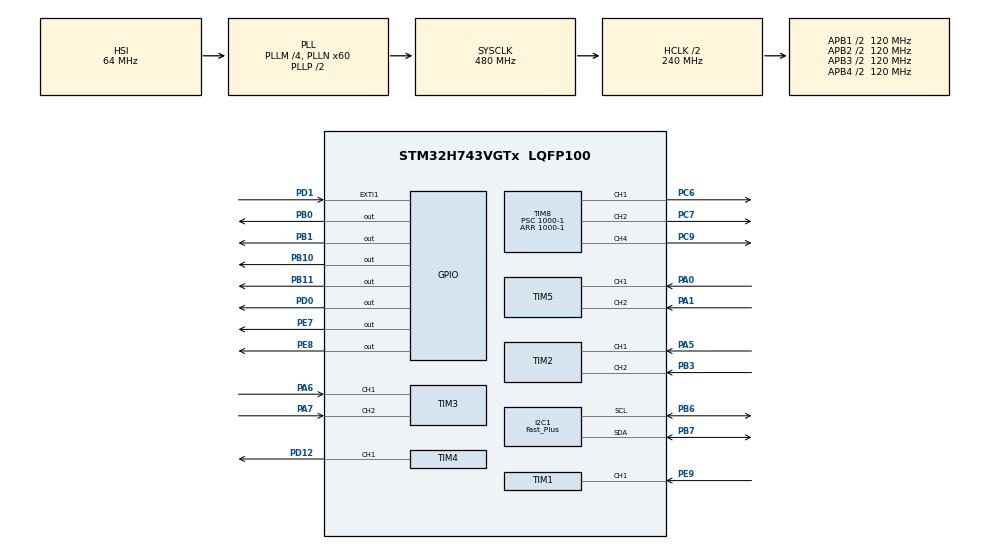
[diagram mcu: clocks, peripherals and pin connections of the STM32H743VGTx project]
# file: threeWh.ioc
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CORTEX_M7.CPU_DCache=Enabled
CORTEX_M7.CPU_ICache=Enabled
CORTEX_M7.default_mode_Activation=1
I2C1.I2C_Speed_Mode=I2C_Fast_Plus
I2C1.Speed=500
I2C1.Timing=0x005017C7
Mcu.Family=STM32H7
Mcu.Name=STM32H743VGTx
Mcu.Package=LQFP100
NVIC.EXTI1_IRQn=true\:1\:0\:true\:false\:true\:true\:true\:true
NVIC.PriorityGroup=NVIC_PRIORITYGROUP_4
NVIC.TIM1_BRK_IRQn=true\:0\:0\:false\:false\:true\:true\:true\:true
NVIC.TIM1_CC_IRQn=true\:0\:0\:false\:false\:true\:true\:true\:true
NVIC.TIM1_TRG_COM_IRQn=true\:0\:0\:false\:false\:true\:true\:true\:true
NVIC.TIM1_UP_IRQn=true\:0\:0\:false\:false\:true\:true\:true\:true
NVIC.TIM8_BRK_TIM12_IRQn=true\:0\:0\:false\:false\:true\:true\:true\:true
PA0.Signal=S_TIM5_CH1
PA1.Signal=S_TIM5_CH2
PA13\ (JTMS/SWDIO).Mode=Serial_Wire
PA13\ (JTMS/SWDIO).Signal=DEBUG_JTMS-SWDIO
PA14\ (JTCK/SWCLK).Mode=Serial_Wire
PA14\ (JTCK/SWCLK).Signal=DEBUG_JTCK-SWCLK
PA5.Signal=S_TIM2_CH1_ETR
PA6.Signal=S_TIM3_CH1
PA7.Signal=S_TIM3_CH2
PB0.Signal=GPIO_Output
PB1.Signal=GPIO_Output
PB10.Signal=GPIO_Output
PB11.Signal=GPIO_Output
PB3\ (JTDO/TRACESWO).Signal=S_TIM2_CH2
PB6.Mode=I2C
PB6.Signal=I2C1_SCL
PB7.Mode=I2C
PB7.Signal=I2C1_SDA
PC14-OSC32_IN\ (OSC32_IN).Mode=LSE-External-Oscillator
PC14-OSC32_IN\ (OSC32_IN).Signal=RCC_OSC32_IN
PC15-OSC32_OUT\ (OSC32_OUT).Mode=LSE-External-Oscillator
PC15-OSC32_OUT\ (OSC32_OUT).Signal=RCC_OSC32_OUT
PC6.Signal=S_TIM8_CH1
PC7.Signal=S_TIM8_CH2
PC9.Signal=S_TIM8_CH4
PD0.GPIO_ModeDefaultOutputPP=GPIO_MODE_OUTPUT_PP
PD0.GPIO_PuPd=GPIO_PULLDOWN
PD0.Signal=GPIO_Output
PD1.GPIO_ModeDefaultEXTI=GPIO_MODE_IT_RISING_FALLING
PD1.GPIO_PuPd=GPIO_PULLDOWN
PD1.Signal=GPXTI1
PD12.Signal=S_TIM4_CH1
PE7.GPIO_ModeDefaultOutputPP=GPIO_MODE_OUTPUT_PP
PE7.GPIO_PuPd=GPIO_NOPULL
PE7.Signal=GPIO_Output
PE8.GPIO_ModeDefaultOutputPP=GPIO_MODE_OUTPUT_PP
PE8.GPIO_PuPd=GPIO_NOPULL
PE8.Signal=GPIO_Output
PE9.Signal=S_TIM1_CH1
PH0-OSC_IN\ (PH0).Mode=HSE-External-Oscillator
PH0-OSC_IN\ (PH0).Signal=RCC_OSC_IN
PH1-OSC_OUT\ (PH1).Mode=HSE-External-Oscillator
PH1-OSC_OUT\ (PH1).Signal=RCC_OSC_OUT
ProjectManager.HeapSize=0xf00
ProjectManager.StackSize=0xf00
ProjectManager.TargetToolchain=MDK-ARM V5.32
RCC.ADCFreq_Value=129000000
RCC.APB1Freq_Value=120000000
RCC.APB2Freq_Value=120000000
RCC.APB3Freq_Value=120000000
RCC.APB4Freq_Value=120000000
RCC.CortexFreq_Value=480000000
RCC.D1PPRE=RCC_APB3_DIV2
RCC.D2PPRE1=RCC_APB1_DIV2
RCC.D2PPRE2=RCC_APB2_DIV2
RCC.D3PPRE=RCC_APB4_DIV2
RCC.DIVM1=4
RCC.DIVN1=60
RCC.HCLKFreq_Value=240000000
RCC.HPRE=RCC_HCLK_DIV2
RCC.PLL2FRACN=0
RCC.PLL3FRACN=0
RCC.PLLFRACN=0
RCC.SYSCLKFreq_VALUE=480000000
RCC.SYSCLKSource=RCC_SYSCLKSOURCE_PLLCLK
RCC.USBFreq_Value=480000000
SH.S_TIM1_CH1.0=TIM1_CH1,Input_Capture1_from_TI1
SH.S_TIM2_CH1_ETR.0=TIM2_CH1,Encoder_Interface
SH.S_TIM2_CH2.0=TIM2_CH2,Encoder_Interface
SH.S_TIM3_CH1.0=TIM3_CH1,Encoder_Interface
SH.S_TIM3_CH2.0=TIM3_CH2,Encoder_Interface
SH.S_TIM4_CH1.0=TIM4_CH1,PWM Generation1 CH1
SH.S_TIM5_CH1.0=TIM5_CH1,Encoder_Interface
SH.S_TIM5_CH2.0=TIM5_CH2,Encoder_Interface
SH.S_TIM8_CH1.0=TIM8_CH1,PWM Generation1 CH1
SH.S_TIM8_CH2.0=TIM8_CH2,PWM Generation2 CH2
SH.S_TIM8_CH4.0=TIM8_CH4,PWM Generation4 CH4
TIM1.AutoReloadPreload=TIM_AUTORELOAD_PRELOAD_ENABLE
TIM1.Channel-Input_Capture1_from_TI1=TIM_CHANNEL_1
TIM1.ICPolarity_CH1=TIM_INPUTCHANNELPOLARITY_FALLING
TIM1.Period=20000-1
TIM1.Prescaler=240-1
TIM12.AutoReloadPreload=TIM_AUTORELOAD_PRELOAD_ENABLE
TIM12.Period=4000-1
TIM12.Prescaler=2400-1
TIM2.EncoderMode=TIM_ENCODERMODE_TI12
TIM3.EncoderMode=TIM_ENCODERMODE_TI12
TIM4.Channel-PWM\ Generation1\ CH1=TIM_CHANNEL_1
TIM4.Period=48000-1
TIM4.Prescaler=100-1
TIM5.EncoderMode=TIM_ENCODERMODE_TI12
TIM6.Period=65535-1
TIM6.Prescaler=24000-1
TIM8.AutoReloadPreload=TIM_AUTORELOAD_PRELOAD_ENABLE
TIM8.Channel-PWM\ Generation1\ CH1=TIM_CHANNEL_1
TIM8.Channel-PWM\ Generation2\ CH2=TIM_CHANNEL_2
TIM8.Channel-PWM\ Generation4\ CH4=TIM_CHANNEL_4
TIM8.Period=1000-1
TIM8.Prescaler=1000-1
TIM8.Pulse-PWM\ Generation1\ CH1=100
VP_TIM12_VS_ClockSourceINT.Mode=Internal
VP_TIM15_VS_ClockSourceINT.Mode=Internal
VP_TIM1_VS_ClockSourceINT.Mode=Internal
VP_TIM4_VS_ClockSourceINT.Mode=Internal
VP_TIM6_VS_ClockSourceINT.Mode=Enable_Timer
VP_TIM8_VS_ClockSourceINT.Mode=Internal
board=custom

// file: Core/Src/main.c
/* USER CODE BEGIN Header */
/**
  ******************************************************************************
  * @file           : main.c
  * @brief          : Main program body
  ******************************************************************************
  * @attention
  *
  * Copyright (c) 2024 STMicroelectronics.
  * All rights reserved.
  *
  * This software is licensed under terms that can be found in the LICENSE file
  * in the root directory of this software component.
  * If no LICENSE file comes with this software, it is provided AS-IS.
  *
  ******************************************************************************
  */
/* USER CODE END Header */
#include "main.h"
#include "i2c.h"
#include "tim.h"
#include "gpio.h"

/* USER CODE BEGIN Includes */
#include "lcd_spi_130.h"
#include "dj.h"
#include "stdio.h"
#include "mpu6050.h"
#include "inv_mpu.h"
#include "arm_math.h"
#include "inv_mpu_dmp_motion_driver.h"
#include "HCSR04.h"
#include "servo.h"
//#include "mpu_math.h"

/* USER CODE END Includes */

/* USER CODE BEGIN PTD */
extern uint16_t Time;
void HAL_GPIO_EXTI_Callback(uint16_t GPIO_Pin)
{
	if(GPIO_Pin==GPIO_PIN_1)
	{
		if(HAL_GPIO_ReadPin(GPIOD,GPIO_PIN_1)==GPIO_PIN_SET)
		{
			__HAL_TIM_SetCounter(&htim6,0);
			HAL_TIM_Base_Start(&htim6);
		}
		else
		{
			Time=__HAL_TIM_GetCounter(&htim6);
			HAL_TIM_Base_Stop(&htim6);
		}
	}
}
//void HAL_Delay_us(uint32_t nus);
/* USER CODE END PTD */

void SystemClock_Config(void);
static void MPU_Config(void);
uint8_t getAim();
void ctr_mode(uint32_t sw_data);

/* USER CODE BEGIN 0 */
int bug;
long long z_add=0;
short aacx,aacy,aacz;			//加速度传感器原始数据
short gyrox,gyroy,gyroz;		//陀螺仪原始数据
short az, az_i;
long long az_j=0;
extern float Yaw,Pitch,Roll;
int speed1=0, speed2=0, speed3=0;
int row=0;
uint8_t azH, azL;
float temp;					    //温度
void sw(uint32_t sw_data);
int distance;
extern int now_speed1, now_speed2, now_speed3;
uint16_t Angle[180]={0};
uint8_t aimAng=0, aimA=0;
int ctr_Flag = 0;

uint8_t getAim(){
	uint8_t start=0, end=0,min_distance=Angle[20];
	for(uint8_t ii=20; ii<160; ii++){
		if(min_distance>Angle[ii])
		{
			min_distance=Angle[ii];
		}
	}
	for(uint8_t ii=0;ii<180;ii++)
	{
		if(!start)
		{
			if(Angle[ii]>=min_distance&&Angle[ii]<=min_distance+10)
			{
				start=ii;
			}
		}
		else
		{
			if(Angle[ii]>=min_distance&&Angle[ii]<=min_distance+10)
			{
				end=ii;
			}
		}
	}
//		if(!start){
//			if(Angle[ii]>=5 && Angle[ii]<=60 ){
//				start = ii;
//			}
//		}
//		if(Angle[ii]>=5 && Angle[ii]<=30){
//			end = ii;
//		}
//	}
	return (start + end)/2;
}

/* USER CODE END 0 */

int main(void)
{

  /* MPU Configuration--------------------------------------------------------*/
  MPU_Config();

  /* Enable the CPU Cache */

  /* Enable I-Cache---------------------------------------------------------*/
  SCB_EnableICache();

  /* Enable D-Cache---------------------------------------------------------*/
  SCB_EnableDCache();

  /* MCU Configuration--------------------------------------------------------*/

  /* Reset of all peripherals, Initializes the Flash interface and the Systick. */
  HAL_Init();

  /* Configure the system clock */
  SystemClock_Config();

  /* Initialize all configured peripherals */
  MX_GPIO_Init();
  MX_TIM8_Init();
  MX_TIM2_Init();
  MX_TIM3_Init();
  MX_TIM4_Init();
  MX_TIM5_Init();
  MX_I2C1_Init();
  MX_TIM1_Init();
  MX_TIM6_Init();
  MX_TIM15_Init();
  MX_TIM12_Init();
  /* USER CODE BEGIN 2 */
  HAL_NVIC_SetPriority(SysTick_IRQn, 1, 0);
  HAL_NVIC_SetPriority(TIM1_UP_IRQn, 2, 0);
  HAL_NVIC_SetPriority(TIM8_BRK_TIM12_IRQn, 3, 0);
	SPI_LCD_Init();  // LCD Init
	MPU_Init();
	HCSR04_Init();
// HAL_TIM_PWM_Start(&htim1, TIM_CHANNEL_1);
  HAL_TIM_Base_Start(&htim8);
  HAL_TIM_PWM_Start(&htim8, TIM_CHANNEL_1);

  // HAL_TIM_Base_Start(&htim1);

  //HAL_TIM_Base_Start(&htim1);

  HAL_TIM_Encoder_Start(&htim5, TIM_CHANNEL_ALL);

  LCD_SetTextFont(&CH_Font24);
	LCD_SetAsciiFont(&ASCII_Font24);

	//LCD_DrawCircle(0, 160, 80);

  /* USER CODE END 2 */

  /* Infinite loop */
  /* USER CODE BEGIN WHILE */

  DJ_All_Init();
	DJ_Set_Speed_All(200, 200, 200);
  DJ_Set_Mode(1, 0);
  DJ_Set_Mode(2, 0);
  DJ_Set_Mode(3, 0);
  char *sp1, *sp2, *sp3;
  int k=0;
  MPU_Read_Fast(0x47, &azH);
  MPU_Read_Fast(0x48, &azL);
  az_i = (azH << 8) | azL;
	HAL_Delay(100);

	HAL_TIM_Base_Start_IT(&htim1);
  //HAL_TIM_IC_Start(&htim1, TIM_CHANNEL_3);

  HAL_TIM_IC_Start_IT(&htim1, TIM_CHANNEL_1);
  HAL_TIM_IC_Start_IT(&htim4, TIM_CHANNEL_1);
  //HAL_TIM_Base_Start(&htim7);

  HAL_TIM_Base_Start_IT(&htim12);
//  HCSR04_Init();

  // servo_setAngle(Angle[180]);

  //__HAL_TIM_SetCompare(&htim4,TIM_CHANNEL_1,45*80/3);
//  HAL_TIM_Base_Stop_IT(&htim12);
//  servo_setAngle(90);//调90度
//DJ_Set_Speed_All(0,0,0);

  while (1)
  {
	   //0:???? 1:?????????
	if(ctr_Flag == 1){
	  mpu_reset_fifo();
	  if(aimAng){
			aimA = aimAng;
		az_j=(aimAng-90)*808.0;
		aimAng = 0;
	  }
	  row = (az_j-z_add)/200.0;
	  DJ_Set_Mode(2,1);
	  DJ_Set_Mode(3,0);
	  DJ_Set_Mode(1,0);
	  DJ_Set_Speed_All(100,100-row/2.0,100);
	  DJ_Step();
	}
	else{
		row = (az_j-z_add)/200.0;
	  DJ_Set_Mode(2,0);
	  DJ_Set_Mode(3,0);
	  DJ_Set_Mode(1,0);
		if(speed1==0 && speed2==0 && speed3==0){
			DJ_Set_Speed_All(row/2,row/2,row/2);
		}else{
			DJ_Set_Speed_All(speed1,speed2+row/2.0, speed3);
		}

	  DJ_Step();
	}

//		if(k==10){
//			 mpu_reset_fifo();
//			HAL_Delay(4);
			//while(bug = mpu_dmp_get_data(&pitch, &roll, &yaw));			//必须要用while等待，才能读取成功
			//MPU_Get_Accelerometer(&aacx,&aacy, &aacz);		//得到加速度传感器数据
//      row = (z_add-az_j)/1000.0;

//      DJ_Set_Speed_All(speed1, speed2, speed3+row);

		// DJ_Set_Speed(3, 200 + z_add/500.0);
			//temp=MPU_Get_Temperature();						//得到温度信息

//		DJ_Step();
/*start
	  //在运动过程中，每次超声波检测到障碍物，将目标方向指向障碍物方向
	  //
	  红外光遥控进入此程序
	  int main()
	  {
		初始化
		打开舵机定时器的时钟
		while(!getAim());//等待超声波获得障碍物方向
		while(1)
		{
			mpu_reset_fifo();
			if(!getAim())
			{
				az_j=getaim();
			}
			DJ_Set_Speed_All(speed1,speed2,row);
			row=(z_add-az_j)/1000.0;
			DJ_Step();
		}
	  }
end*/

    /* USER CODE END WHILE */

  }
}

void SystemClock_Config(void)
{
  RCC_OscInitTypeDef RCC_OscInitStruct = {0};
  RCC_ClkInitTypeDef RCC_ClkInitStruct = {0};

  /** Supply configuration update enable
  */
  HAL_PWREx_ConfigSupply(PWR_LDO_SUPPLY);

  /** Configure the main internal regulator output voltage
  */
  __HAL_PWR_VOLTAGESCALING_CONFIG(PWR_REGULATOR_VOLTAGE_SCALE1);

  while(!__HAL_PWR_GET_FLAG(PWR_FLAG_VOSRDY)) {}

  __HAL_RCC_SYSCFG_CLK_ENABLE();
  __HAL_PWR_VOLTAGESCALING_CONFIG(PWR_REGULATOR_VOLTAGE_SCALE0);

  while(!__HAL_PWR_GET_FLAG(PWR_FLAG_VOSRDY)) {}

  /** Initializes the RCC Oscillators according to the specified parameters
  * in the RCC_OscInitTypeDef structure.
  */
  RCC_OscInitStruct.OscillatorType = RCC_OSCILLATORTYPE_HSI;
  RCC_OscInitStruct.HSIState = RCC_HSI_DIV1;
  RCC_OscInitStruct.HSICalibrationValue = RCC_HSICALIBRATION_DEFAULT;
  RCC_OscInitStruct.PLL.PLLState = RCC_PLL_ON;
  RCC_OscInitStruct.PLL.PLLSource = RCC_PLLSOURCE_HSI;
  RCC_OscInitStruct.PLL.PLLM = 4;
  RCC_OscInitStruct.PLL.PLLN = 60;
  RCC_OscInitStruct.PLL.PLLP = 2;
  RCC_OscInitStruct.PLL.PLLQ = 2;
  RCC_OscInitStruct.PLL.PLLR = 2;
  RCC_OscInitStruct.PLL.PLLRGE = RCC_PLL1VCIRANGE_3;
  RCC_OscInitStruct.PLL.PLLVCOSEL = RCC_PLL1VCOWIDE;
  RCC_OscInitStruct.PLL.PLLFRACN = 0;
  if (HAL_RCC_OscConfig(&RCC_OscInitStruct) != HAL_OK)
  {
    Error_Handler();
  }

  /** Initializes the CPU, AHB and APB buses clocks
  */
  RCC_ClkInitStruct.ClockType = RCC_CLOCKTYPE_HCLK|RCC_CLOCKTYPE_SYSCLK
                              |RCC_CLOCKTYPE_PCLK1|RCC_CLOCKTYPE_PCLK2
                              |RCC_CLOCKTYPE_D3PCLK1|RCC_CLOCKTYPE_D1PCLK1;
  RCC_ClkInitStruct.SYSCLKSource = RCC_SYSCLKSOURCE_PLLCLK;
  RCC_ClkInitStruct.SYSCLKDivider = RCC_SYSCLK_DIV1;
  RCC_ClkInitStruct.AHBCLKDivider = RCC_HCLK_DIV2;
  RCC_ClkInitStruct.APB3CLKDivider = RCC_APB3_DIV2;
  RCC_ClkInitStruct.APB1CLKDivider = RCC_APB1_DIV2;
  RCC_ClkInitStruct.APB2CLKDivider = RCC_APB2_DIV2;
  RCC_ClkInitStruct.APB4CLKDivider = RCC_APB4_DIV2;

  if (HAL_RCC_ClockConfig(&RCC_ClkInitStruct, FLASH_LATENCY_4) != HAL_OK)
  {
    Error_Handler();
  }
}

/* USER CODE BEGIN 4 */
uint8_t NEC_Start = 0, NEC_Mode=0;
uint16_t CR1=0, CR2=0;
uint16_t time1=0;
uint32_t time2=0;
uint8_t NEC_Data_P=0;
uint32_t NEC_Data=0, NEC_Last_Data=0;
int x2, y2;
int nowAng = 0;
void HAL_TIM_PeriodElapsedCallback(TIM_HandleTypeDef *htim){
  if(htim->Instance == TIM1){
	  if(NEC_Mode){
      NEC_Start ++;
      // if(NEC_Start>=2){
      //   NEC_Mode = 0;
      // }
      if(NEC_Mode==1 && NEC_Start==2){
        NEC_Mode = 0;
        __HAL_TIM_SET_CAPTUREPOLARITY(htim, TIM_CHANNEL_1, TIM_INPUTCHANNELPOLARITY_FALLING);
      }
      if((NEC_Mode==2||NEC_Mode==3) && NEC_Start==7){
        NEC_Mode = 0;
        __HAL_TIM_SET_CAPTUREPOLARITY(htim, TIM_CHANNEL_1, TIM_INPUTCHANNELPOLARITY_FALLING);
      }
    }

    MPU_Read_Fast(0x47, &azH);
    MPU_Read_Fast(0x48, &azL);
    az = (azH << 8) | azL;
    if(az - az_i>5|| az - az_i<-5){
      z_add += az - az_i;
    }

  }
  if(htim == (&htim12)){
		//LCD_ClearRect(5, 144, 120, 86);

    LCD_SetBackColor(LCD_BLACK);
		LCD_SetColor(LCD_WHITE);
		//distance=HCSR04_GetValue();
		LCD_DisplayNumber(1,1,aimA,3);
		LCD_DisplayNumber(5, 120+24, getSpeed(1), 4);
		LCD_DisplayNumber(5, 120+48, getSpeed(2), 4);
		LCD_DisplayNumber(5, 120+72, getSpeed(3), 4);

		LCD_DisplayNumber(80, 120+24, (int)z_add, 4);
		LCD_DisplayNumber(80, 120+48, (int)row, 4);
		LCD_DisplayNumber(80, 120+72, (int)aimAng, 3);

		LCD_DisplayNumber(160, 120+24, speed1, 4);
		LCD_DisplayNumber(160, 120+48, speed2, 4);
		LCD_DisplayNumber(160, 120+72, speed3, 4);

			//if(Angle[ids]>=39) Angle[ids] = 39;

		// LCD_DisplayNumber(100, 120+48, (int)Pitch, 4);
		// LCD_DisplayNumber(100, 120+72, (int)Roll, 4);
	//	LCD_DisplayNumber(100, 120+86, (int)temp, 4);

////    LCD_DisplayText(5, 120+48, sp2);
////    LCD_DisplayText(5, 120+72, sp3);

    //LCD_DrawHalfCircle(120, 120, 120, 1);
    if(nowAng >=0){
      distance = HCSR04_GetValue();
			if(distance >120)
				distance=120;
			Angle[nowAng] = distance;
			LCD_DrawPoint(120-cos((nowAng)*3.1415926/180)*distance, 120-sin((nowAng)*3.1415926/180)*distance, LCD_WHITE);
//			if(nowAng<180){
//				LCD_SetColor(LCD_BLACK);
//				LCD_DrawLine(120, 120, x2, y2);
//				if(nowAng){
//					x2 = 120-cos((nowAng)*3.1415926/180)*120;
//					y2 = 120-sin((nowAng)*3.1415926/180)*120;
//					LCD_DrawPoint(120-cos((nowAng-1)*3.1415926/180)*Angle[nowAng-1], 120-sin((nowAng-1)*3.1415926/180)*Angle[nowAng-1], LCD_WHITE);
//				}else{
//					LCD_DrawPoint(120-cos((180)*3.1415926/180)*Angle[179], 120-sin((180)*3.1415926/180)*Angle[179], LCD_WHITE);
//				}
//				LCD_SetColor(LCD_GREEN);
//				LCD_DrawLine(120, 120, x2, y2);
//			}

//			LCD_DrawPoint(120-cos((nowAng-1)*3.1415926/180)*distance, 120-sin((nowAng-1)*3.1415926/180)*distance, LCD_WHITE);
      nowAng++;
      if(nowAng>=180){
				LCD_Clear();
        nowAng = -50;
        servo_setAngle(180);
	   aimAng = getAim();
      }else{
        servo_setAngle(180-nowAng);
      }
    }else{
      nowAng++;
    }
    /*start

    uint8_t start=0 end=0;
    for(uint8_t i=0;i<180;i++)
    {
		servo_setAngle(i);
		distance=HCSR04_GetValue();
		if(!start)
		{
		    if(distance>=10&&distance<=60)
		    start=i;
		}
		if(distance>=10&&distance<=60)
		{
			end=i;
		}
    }
    AimAngle=(start+end)/2;
    end*/
  }
}
void ctr_mode(uint32_t sw_data){
    if(sw_data == 0xEA15FF00){  //妯″紡1
        ctr_Flag = 0;
    }

    else if(sw_data == 0xF609FF00){  //妯″紡2
        ctr_Flag = 1;
			z_add = 0;
    }

    if(ctr_Flag == 0){
        if(sw_data == 0xAD52FF00){ //2 鍓嶈繘
            speed1 =  -100;
            speed2 =  100  ;
            speed3 =  -100 ;
        }
        else if(sw_data == 0xE718FF00){  //8 鍚庨��
            speed1 = 100 ;
            speed2 = -100 ;
            speed3 = 100  ;
        }
        else if(sw_data == 0xA55AFF00){  //4 宸﹁浆
            az_j+=10000;
        }
        else if(sw_data == 0xF708FF00){  //6 鍙宠浆
            az_j-=10000;
        }else if(sw_data == 0xE31CFF00){
			speed1 = 0;
			speed2 = 0;
			speed3 = 0;
		}
    }
}

void HAL_TIM_IC_CaptureCallback(TIM_HandleTypeDef *htim){
  if(htim->Instance == TIM1){
    if(NEC_Mode==0){
      CR1 = HAL_TIM_ReadCapturedValue(htim, TIM_CHANNEL_1);
      NEC_Mode=1;
      NEC_Start=0;
      __HAL_TIM_SET_CAPTUREPOLARITY(htim, TIM_CHANNEL_1, TIM_INPUTCHANNELPOLARITY_RISING);
    }else if(NEC_Mode==1){
      CR2 = HAL_TIM_ReadCapturedValue(htim, TIM_CHANNEL_1);
      time1 = CR2 - CR1 + NEC_Start*20000;
      if(time1 > 8000 && time1 < 10000){
        NEC_Mode = 2;  // 2卤韸韭柯寂惵断惻号结姼
        NEC_Data=0;
        NEC_Data_P=0;
      }else{
        NEC_Mode = 0;  // 袇潞糯韼陈Ｂ结姼
				__HAL_TIM_SET_CAPTUREPOLARITY(htim, TIM_CHANNEL_1, TIM_INPUTCHANNELPOLARITY_FALLING);
      }
    }else if(NEC_Mode==2){
      CR1 = HAL_TIM_ReadCapturedValue(htim, TIM_CHANNEL_1);
      NEC_Start = 0;
      NEC_Mode=3;
      __HAL_TIM_SET_CAPTUREPOLARITY(htim, TIM_CHANNEL_1, TIM_INPUTCHANNELPOLARITY_FALLING);
    }else if(NEC_Mode==3){
      CR2 = HAL_TIM_ReadCapturedValue(htim, TIM_CHANNEL_1);
      time2 = CR2 - CR1 + NEC_Start*20000;
      if(time2<800){
        NEC_Data &= ~(((uint32_t)1)<<NEC_Data_P);
        NEC_Data_P++;
      }else if(time2<6000){
        NEC_Data |= (((uint32_t)1)<<NEC_Data_P);
        NEC_Data_P++;
      }else if(time2>90000){
        NEC_Mode = 0;//闀挎寜
        NEC_Data_P = 0;
        ctr_mode(NEC_Last_Data);
        __HAL_TIM_SET_CAPTUREPOLARITY(htim, TIM_CHANNEL_1, TIM_INPUTCHANNELPOLARITY_FALLING);
      }else{
				NEC_Mode = 0;
        NEC_Data_P = 0;
        __HAL_TIM_SET_CAPTUREPOLARITY(htim, TIM_CHANNEL_1, TIM_INPUTCHANNELPOLARITY_FALLING);
			}
      if(NEC_Data_P>31){
         NEC_Last_Data = NEC_Data;//鐭寜
        //sw(NEC_Data);
        NEC_Mode = 0;
        __HAL_TIM_SET_CAPTUREPOLARITY(htim, TIM_CHANNEL_1, TIM_INPUTCHANNELPOLARITY_FALLING);
      }else{
        NEC_Mode=2;
        __HAL_TIM_SET_CAPTUREPOLARITY(htim, TIM_CHANNEL_1, TIM_INPUTCHANNELPOLARITY_RISING);
      }
    }
	}
}

		// if(HAL_GPIO_ReadPin(GPIOE, GPIO_PIN_9) == GPIO_PIN_SET && NEC_Mode==1){  // 计算拉低时间
    //   CR2 = HAL_TIM_ReadCapturedValue(htim, TIM_CHANNEL_1);
    //   time1 = CR2 - CR1 + NEC_Start*20000;  //1us
    //   if(time1 > 8000 && time1 < 10000){
    //     NEC_Mode = 2;  // 2表示开始判断信号结束
    //     NEC_Data=0;
    //   }else{
    //     NEC_Mode = 0;  // 信号错误，结束
    //   }
    // }else if(HAL_GPIO_ReadPin(GPIOE, GPIO_PIN_9) == GPIO_PIN_SET && (NEC_Mode==2 || NEC_Mode==3)){  // 计算拉低时间
    //   CR2 = HAL_TIM_ReadCapturedValue(htim, TIM_CHANNEL_1);
    //   NEC_Mode = 3;
    // }

    // if(HAL_GPIO_ReadPin(GPIOE, GPIO_PIN_9) == GPIO_PIN_RESET && NEC_Mode==0){  // 拉低触发
    //   NEC_Mode = 1;  // 1表示开始判断信号起始 9usL, 4.5usH;
    //   NEC_Start = 0;
    //   NEC_Data_P = 0;
    //   CR1 = HAL_TIM_ReadCapturedValue(htim, TIM_CHANNEL_1);
    // }else if(HAL_GPIO_ReadPin(GPIOE, GPIO_PIN_9) == GPIO_PIN_RESET && (NEC_Mode==2 || NEC_Mode==3)){
    //   if(NEC_Mode==3){
    //     CR3 = HAL_TIM_ReadCapturedValue(htim, TIM_CHANNEL_1);
    //     time1 = CR2 - CR1 + NEC_Start*20000;  //1us
    //     time2 = CR3 - CR1 + NEC_Start*20000;  //1us
    //     time2 -= time1;
    //     // 500-620<-560  1500-1860<-1680
    //     if(time1<800 && time1>300){
    //       if(time2<800 && time2>300){
    //         NEC_Data &= ~(((uint32_t)1)<<NEC_Data_P);
    //         NEC_Data_P++;
    //       }else if(time2<2000&&time2>1300){
    //         NEC_Data |= (((uint32_t)1)<<NEC_Data_P);
    //         NEC_Data_P++;
    //       }else{
    //         NEC_Mode = 0;
    //         NEC_Data_P=0;
    //       }
    //       if(NEC_Data_P>31){
    //         NEC_Mode = 0;
    //         NEC_Data_P=0;
    //       }
    //     }else{
    //       NEC_Mode = 0;
    //       NEC_Data_P=0;
    //     }
    //   }
    //   NEC_Start=0;
    //   CR1 = HAL_TIM_ReadCapturedValue(htim, TIM_CHANNEL_1);
    // }
//void HAL_Delay_us(uint32_t nus)
//{
//	_nop_();
//}
void _nop_(){

}
/* USER CODE END 4 */

 /* MPU Configuration */

void MPU_Config(void)
{
  MPU_Region_InitTypeDef MPU_InitStruct = {0};

  /* Disables the MPU */
  HAL_MPU_Disable();

  /** Initializes and configures the Region and the memory to be protected
  */
  MPU_InitStruct.Enable = MPU_REGION_ENABLE;
  MPU_InitStruct.Number = MPU_REGION_NUMBER0;
  MPU_InitStruct.BaseAddress = 0x0;
  MPU_InitStruct.Size = MPU_REGION_SIZE_4GB;
  MPU_InitStruct.SubRegionDisable = 0x87;
  MPU_InitStruct.TypeExtField = MPU_TEX_LEVEL0;
  MPU_InitStruct.AccessPermission = MPU_REGION_NO_ACCESS;
  MPU_InitStruct.DisableExec = MPU_INSTRUCTION_ACCESS_DISABLE;
  MPU_InitStruct.IsShareable = MPU_ACCESS_SHAREABLE;
  MPU_InitStruct.IsCacheable = MPU_ACCESS_NOT_CACHEABLE;
  MPU_InitStruct.IsBufferable = MPU_ACCESS_NOT_BUFFERABLE;

  HAL_MPU_ConfigRegion(&MPU_InitStruct);
  /* Enables the MPU */
  HAL_MPU_Enable(MPU_PRIVILEGED_DEFAULT);

}

void Error_Handler(void)
{
  __disable_irq();
  while (1)
  {
  }
}
